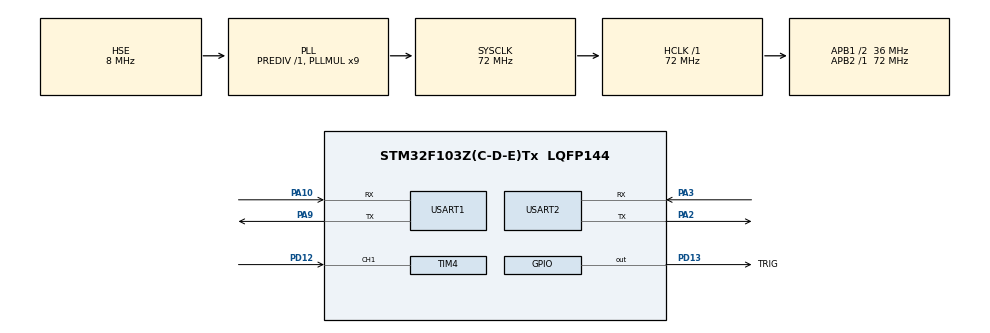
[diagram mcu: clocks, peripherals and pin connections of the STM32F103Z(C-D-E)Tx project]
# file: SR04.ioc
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Mcu.Family=STM32F1
Mcu.Name=STM32F103Z(C-D-E)Tx
Mcu.Package=LQFP144
NVIC.PriorityGroup=NVIC_PRIORITYGROUP_4
NVIC.TIM4_IRQn=true\:0\:0\:false\:false\:true\:true
OSC_IN.Mode=HSE-External-Oscillator
OSC_IN.Signal=RCC_OSC_IN
OSC_OUT.Mode=HSE-External-Oscillator
OSC_OUT.Signal=RCC_OSC_OUT
PA10.Mode=Asynchronous
PA10.Signal=USART1_RX
PA13.Mode=Serial_Wire
PA13.Signal=SYS_JTMS-SWDIO
PA14.Mode=Serial_Wire
PA14.Signal=SYS_JTCK-SWCLK
PA2.Mode=Asynchronous
PA2.Signal=USART2_TX
PA3.Mode=Asynchronous
PA3.Signal=USART2_RX
PA9.Mode=Asynchronous
PA9.Signal=USART1_TX
PD12.Signal=S_TIM4_CH1
PD13.GPIO_Label=TRIG
PD13.Signal=GPIO_Output
ProjectManager.HeapSize=0x200
ProjectManager.StackSize=0x400
ProjectManager.TargetToolchain=MDK-ARM V5
RCC.AHBFreq_Value=72000000
RCC.APB1CLKDivider=RCC_HCLK_DIV2
RCC.APB1Freq_Value=36000000
RCC.APB1TimFreq_Value=72000000
RCC.APB2Freq_Value=72000000
RCC.APB2TimFreq_Value=72000000
RCC.HCLKFreq_Value=72000000
RCC.PLLMUL=RCC_PLL_MUL9
RCC.PLLSourceVirtual=RCC_PLLSOURCE_HSE
RCC.SYSCLKFreq_VALUE=72000000
RCC.SYSCLKSource=RCC_SYSCLKSOURCE_PLLCLK
RCC.USBFreq_Value=72000000
SH.S_TIM4_CH1.0=TIM4_CH1,Input_Capture1_from_TI1
TIM4.Channel-Input_Capture1_from_TI1=TIM_CHANNEL_1
TIM4.Period=0xffff
TIM4.Prescaler=7200-1
USART1.VirtualMode=VM_ASYNC
USART2.VirtualMode=VM_ASYNC
board=custom

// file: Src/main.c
/* USER CODE BEGIN Header */
/**
  ******************************************************************************
  * @file           : main.c
  * @brief          : Main program body
  ******************************************************************************
  ** This notice applies to any and all portions of this file
  * that are not between comment pairs USER CODE BEGIN and
  * USER CODE END. Other portions of this file, whether
  * inserted by the user or by software development tools
  * are owned by their respective copyright owners.
  *
  * COPYRIGHT(c) 2020 STMicroelectronics
  *
  * Redistribution and use in source and binary forms, with or without modification,
  * are permitted provided that the following conditions are met:
  *   1. Redistributions of source code must retain the above copyright notice,
  *      this list of conditions and the following disclaimer.
  *   2. Redistributions in binary form must reproduce the above copyright notice,
  *      this list of conditions and the following disclaimer in the documentation
  *      and/or other materials provided with the distribution.
  *   3. Neither the name of STMicroelectronics nor the names of its contributors
  *      may be used to endorse or promote products derived from this software
  *      without specific prior written permission.
  *
  * THIS SOFTWARE IS PROVIDED BY THE COPYRIGHT HOLDERS AND CONTRIBUTORS "AS IS"
  * AND ANY EXPRESS OR IMPLIED WARRANTIES, INCLUDING, BUT NOT LIMITED TO, THE
  * IMPLIED WARRANTIES OF MERCHANTABILITY AND FITNESS FOR A PARTICULAR PURPOSE ARE
  * DISCLAIMED. IN NO EVENT SHALL THE COPYRIGHT HOLDER OR CONTRIBUTORS BE LIABLE
  * FOR ANY DIRECT, INDIRECT, INCIDENTAL, SPECIAL, EXEMPLARY, OR CONSEQUENTIAL
  * DAMAGES (INCLUDING, BUT NOT LIMITED TO, PROCUREMENT OF SUBSTITUTE GOODS OR
  * SERVICES; LOSS OF USE, DATA, OR PROFITS; OR BUSINESS INTERRUPTION) HOWEVER
  * CAUSED AND ON ANY THEORY OF LIABILITY, WHETHER IN CONTRACT, STRICT LIABILITY,
  * OR TORT (INCLUDING NEGLIGENCE OR OTHERWISE) ARISING IN ANY WAY OUT OF THE USE
  * OF THIS SOFTWARE, EVEN IF ADVISED OF THE POSSIBILITY OF SUCH DAMAGE.
  *
  ******************************************************************************
  */
/* USER CODE END Header */

#include "main.h"
#include "tim.h"
#include "usart.h"
#include "gpio.h"

/* USER CODE BEGIN Includes */
#include "stdio.h"
/* USER CODE END Includes */

/* USER CODE BEGIN PTD */
uint8_t   text_flag = 0;
uint8_t   dis_fm = 0;
uint8_t   Channel2Edge = 0;
uint16_t  Channel2HighTime, Channel2RisingTime, Channel2FallingTime;
/* USER CODE END PTD */

/* USER CODE BEGIN PD */
void Delay_us(uint32_t t)
{
    int n  =  21;
    while(--t)
    {
        while(--n);
        n = 11;
    }
}

void gases_start_signal(void)
{

  HAL_GPIO_WritePin(TRIG_GPIO_Port, TRIG_Pin, GPIO_PIN_SET);
  HAL_Delay(20);
  HAL_GPIO_WritePin(TRIG_GPIO_Port, TRIG_Pin, GPIO_PIN_RESET);
}
/* USER CODE END PD */

void SystemClock_Config(void);

/* USER CODE BEGIN 0 */
int fputc(int ch,FILE *p)
{
	while(!(USART1->SR & (1<<7)));

	USART1->DR = ch;

	return ch;
}
/* USER CODE END 0 */

int main(void)
{

  /* MCU Configuration--------------------------------------------------------*/

  /* Reset of all peripherals, Initializes the Flash interface and the Systick. */
  HAL_Init();

  /* Configure the system clock */
  SystemClock_Config();

  /* Initialize all configured peripherals */
  MX_GPIO_Init();
  MX_TIM4_Init();
  MX_USART1_UART_Init();
  MX_USART2_UART_Init();
  /* USER CODE BEGIN 2 */
	HAL_TIM_IC_Start_IT(&htim4, TIM_CHANNEL_1);
  /* USER CODE END 2 */

  /* Infinite loop */
  while (1)
  {

    /* USER CODE BEGIN 3 */
		gases_start_signal();
		//printf("hello\r\n");
  }
  /* USER CODE END 3 */
}

void SystemClock_Config(void)
{
  RCC_OscInitTypeDef RCC_OscInitStruct = {0};
  RCC_ClkInitTypeDef RCC_ClkInitStruct = {0};

  /**Initializes the CPU, AHB and APB busses clocks
  */
  RCC_OscInitStruct.OscillatorType = RCC_OSCILLATORTYPE_HSE;
  RCC_OscInitStruct.HSEState = RCC_HSE_ON;
  RCC_OscInitStruct.HSEPredivValue = RCC_HSE_PREDIV_DIV1;
  RCC_OscInitStruct.HSIState = RCC_HSI_ON;
  RCC_OscInitStruct.PLL.PLLState = RCC_PLL_ON;
  RCC_OscInitStruct.PLL.PLLSource = RCC_PLLSOURCE_HSE;
  RCC_OscInitStruct.PLL.PLLMUL = RCC_PLL_MUL9;
  if (HAL_RCC_OscConfig(&RCC_OscInitStruct) != HAL_OK)
  {
    Error_Handler();
  }
  /**Initializes the CPU, AHB and APB busses clocks
  */
  RCC_ClkInitStruct.ClockType = RCC_CLOCKTYPE_HCLK|RCC_CLOCKTYPE_SYSCLK
                              |RCC_CLOCKTYPE_PCLK1|RCC_CLOCKTYPE_PCLK2;
  RCC_ClkInitStruct.SYSCLKSource = RCC_SYSCLKSOURCE_PLLCLK;
  RCC_ClkInitStruct.AHBCLKDivider = RCC_SYSCLK_DIV1;
  RCC_ClkInitStruct.APB1CLKDivider = RCC_HCLK_DIV2;
  RCC_ClkInitStruct.APB2CLKDivider = RCC_HCLK_DIV1;

  if (HAL_RCC_ClockConfig(&RCC_ClkInitStruct, FLASH_LATENCY_2) != HAL_OK)
  {
    Error_Handler();
  }
}

/* USER CODE BEGIN 4 */
void HAL_TIM_IC_CaptureCallback(TIM_HandleTypeDef *htim)
{
	if(htim->Instance == htim4.Instance)
	{
		if(htim->Channel == HAL_TIM_ACTIVE_CHANNEL_1)
		{
			if(Channel2Edge == 0)
			{
				Channel2RisingTime = HAL_TIM_ReadCapturedValue(&htim4, TIM_CHANNEL_1);
				__HAL_TIM_SET_CAPTUREPOLARITY(&htim4, TIM_CHANNEL_1, TIM_INPUTCHANNELPOLARITY_FALLING);
				HAL_TIM_IC_Start_IT(&htim4, TIM_CHANNEL_1);

				Channel2Edge = 1;
			}
			else if(Channel2Edge == 1)
			{
				Channel2FallingTime = HAL_TIM_ReadCapturedValue(&htim4, TIM_CHANNEL_1);
				__HAL_TIM_SET_CAPTUREPOLARITY(&htim4, TIM_CHANNEL_1, TIM_INPUTCHANNELPOLARITY_RISING);
				HAL_TIM_IC_Start_IT(&htim4, TIM_CHANNEL_1);

				Channel2HighTime = Channel2FallingTime < Channel2RisingTime ? Channel2FallingTime + 0xffff - Channel2RisingTime + 1 : Channel2FallingTime - Channel2RisingTime;

				dis_fm = Channel2HighTime * 170 / 100 ;
				printf("dis_fm = %dcm\r\n", dis_fm);

				Channel2Edge = 0;
			}
		}
	}
}
/* USER CODE END 4 */

void Error_Handler(void)
{
}

/************************ (C) COPYRIGHT STMicroelectronics *****END OF FILE****/
